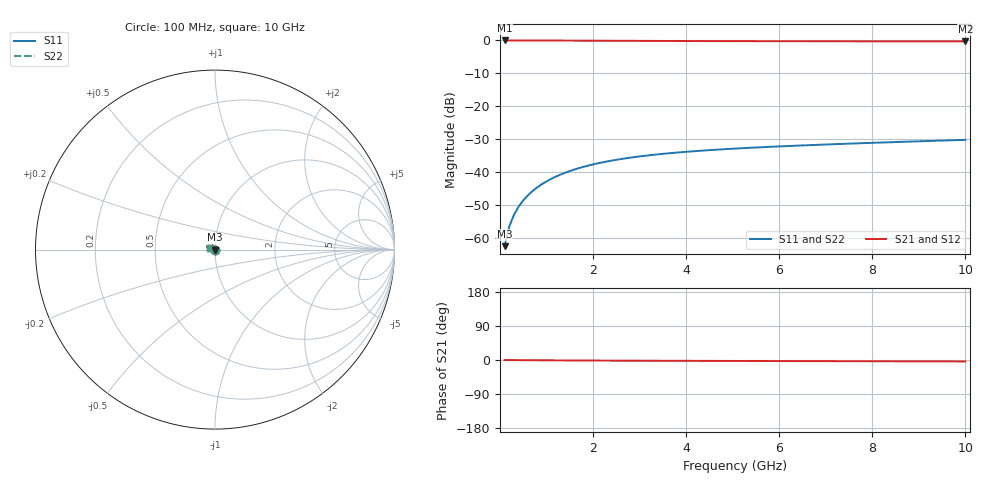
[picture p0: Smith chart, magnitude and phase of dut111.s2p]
! Touchstone file exported from HFSS 2024.1.0
!  File:  C:/UserFiles/LocalFiles/RDL_TSV_Batchsim/temp_TSV1_111_1779377893.aedt
!  Generated:  11:43:02 PM May 21, 2026
!  Design:  TSV1
!  Project:  temp_TSV1_111_1779377893
!  Setup:  Setup1
!  Solution:  Sweep
! Variables:
!  dtsv = 9.39um
!  hbump = 3um
!  htsv = 54.34um
!  lrdl = 252.1521522um
!  p = 40
!  p1 = 55.4um
!  t = 500um
!  trdl = 3um
!  wrdl = 24.89489489um
# GHz S MA R 50.000000
! Terminal data exported
! Port[1] = TSV22_T1
! Port[2] = TSV22_T2
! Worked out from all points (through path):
!   100 points, 100 MHz to 10 GHz, reference 50 ohm
!   highest |S21| = 0.00 dB at 100 MHz (marker M1); lowest = -0.3 dB at 10 GHz (marker M2)
!   lowest |S11| = -62.3 dB at 100 MHz (marker M3), VSWR 1.00, Z = 50 - j0.0758 ohm
!   |S11| at or under -10 dB: start of sweep to end of sweep
!   |S22| runs from -62.3 to -30.1 dB; largest |S21 - S12| = 9.3e-15
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0.1  0.0007645 -82.2  0.9998 -0.1  0.9998 -0.1  0.0007645 -82.2
! Gamma 0 0 0 0
! Port Impedance 50 0 50 0
0.2  0.001519 -89.1  0.9997 -0.2  0.9997 -0.2  0.001519 -89.1
0.3  0.002276 -92.9  0.9996 -0.3  0.9996 -0.3  0.002276 -92.9
0.4  0.003027 -95.9  0.9994 -0.4  0.9994 -0.4  0.003027 -95.9
0.5  0.003771 -98.6  0.9991 -0.4  0.9991 -0.4  0.003771 -98.6
0.6  0.004505 -101.0  0.9988 -0.5  0.9988 -0.5  0.004505 -101.0
0.7  0.005229 -103.4  0.9984 -0.6  0.9984 -0.6  0.005229 -103.4
0.8  0.005941 -105.6  0.998 -0.7  0.998 -0.7  0.005941 -105.6
0.9  0.00664 -107.8  0.9976 -0.8  0.9976 -0.8  0.00664 -107.8
1.1  0.007993 -112.1  0.9966 -0.9  0.9966 -0.9  0.007993 -112.1
1.4  0.0099 -118.1  0.9949 -1.1  0.9949 -1.1  0.0099 -118.1
1.6  0.01108 -121.9  0.9937 -1.3  0.9937 -1.3  0.01108 -121.9
1.8  0.0122 -125.6  0.9925 -1.4  0.9925 -1.4  0.0122 -125.6
2.1  0.01374 -130.8  0.9906 -1.5  0.9906 -1.5  0.01374 -130.8
2.5  0.01555 -137.2  0.9881 -1.7  0.9881 -1.7  0.01555 -137.2
2.9  0.01714 -143.1  0.9858 -1.9  0.9858 -1.9  0.01714 -143.1
3.4  0.01884 -149.8  0.9831 -2.1  0.9831 -2.1  0.01884 -149.8
4.2  0.02107 -159.1  0.9796 -2.3  0.9796 -2.3  0.02107 -159.1
5.1  0.02309 -168.1  0.9765 -2.5  0.9765 -2.5  0.02309 -168.1
6.7  0.02602 179.0  0.9727 -3.0  0.9727 -3.0  0.02602 179.0
8.4  0.02873 168.1  0.9701 -3.4  0.9701 -3.4  0.02873 168.1
10  0.03119 159.7  0.9685 -3.8  0.9685 -3.8  0.03119 159.7
